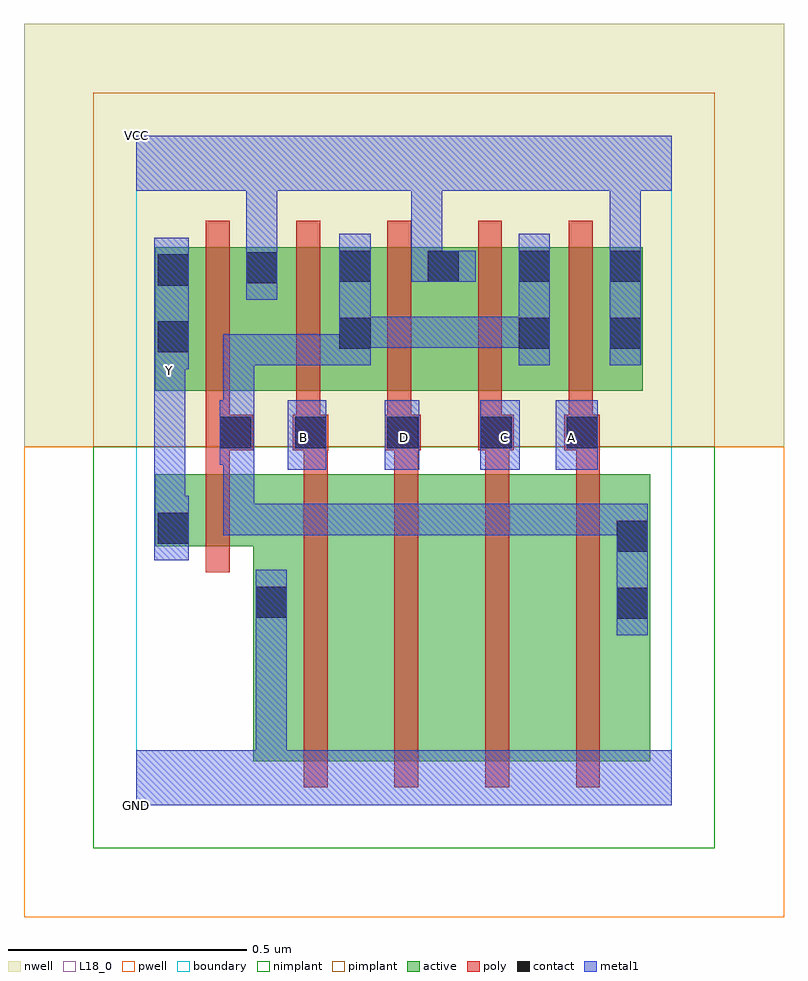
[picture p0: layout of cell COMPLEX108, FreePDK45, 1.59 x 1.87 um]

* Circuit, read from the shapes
.subckt COMPLEX108 A B C D GND VCC Y
M1 GND n1 Y VSUBS nfet w=0.15u l=0.05u
M2 n2 B GND VSUBS nfet w=0.6u l=0.05u
M3 n3 D n2 VSUBS nfet w=0.6u l=0.05u
M4 n4 C n3 VSUBS nfet w=0.6u l=0.05u
M5 n1 A n4 VSUBS nfet w=0.6u l=0.05u
M6 VCC n1 Y n5 pfet w=0.3u l=0.05u
M7 n1 B VCC n5 pfet w=0.3u l=0.05u
M8 VCC D n1 n5 pfet w=0.3u l=0.05u
M9 n1 C VCC n5 pfet w=0.3u l=0.05u
M10 VCC A n1 n5 pfet w=0.3u l=0.05u
.ends

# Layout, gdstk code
import gdstk
lib = gdstk.Library(unit=1e-6, precision=1e-09)
def R(c, l, rs):  # rectangles x0, y0, x1, y1
    for r in rs: c.add(gdstk.rectangle(r[:2], r[2:], *l))
def A(c, l, x, y, w, h, nx, ny, dx, dy):  # array of equal rectangles
    R(c, l, [(x+i*dx, y+j*dy, x+i*dx+w, y+j*dy+h) for i in range(nx) for j in range(ny)])
active = (1, 0)
pwell = (2, 0)
nwell = (3, 0)
nimplant = (4, 0)
pimplant = (5, 0)
poly = (9, 0)
contact = (10, 0)
metal1 = (11, 0)
L18_0 = (18, 0)
boundary = (235, 0)

complex108 = lib.new_cell('COMPLEX108')
R(complex108, active, [(0.245,0.092,0.47,0.692), (0.245,0.092,0.32,0.542), (0.47,0.092,0.66,0.692), (0.66,0.092,0.85,0.692), (0.85,0.092,1.075,0.692), (1,0.095,1.075,0.692), (0.04,0.542,0.32,0.692), (0.04,0.542,0.115,0.692), (0.04,0.867,0.115,1.167), (0.04,0.867,0.3,1.167), (0.225,0.867,0.495,1.167), (0.42,0.867,0.68,1.167), (0.605,0.867,0.87,1.167), (0.795,0.867,0.87,1.167), (0.795,0.867,1.06,1.167), (0.985,0.867,1.06,1.167), (0.42,0.875,0.495,1.167), (0.225,1.002,0.3,1.167), (0.605,1.002,0.68,1.167)])
R(complex108, pwell, [(-0.235,-0.235,1.355,0.75)])
R(complex108, nwell, [(-0.235,0.75,1.355,1.635)])
R(complex108, nimplant, [(-0.09,-0.09,1.21,0.75)])
R(complex108, pimplant, [(-0.09,0.75,1.21,1.49)])
A(complex108, poly, 0.35, 0.037, 0.05, 0.71, 4, 1, 0.19, 0)
A(complex108, poly, 0.35, 0.697, 0.05, 0.095, 4, 1, 0.19, 0)
A(complex108, poly, 0.145, 0.767, 0.05, 0.095, 5, 1, 0.19, 0)
A(complex108, poly, 0.145, 0.812, 0.05, 0.41, 5, 1, 0.19, 0)
R(complex108, poly, [(0.145,0.487,0.195,0.747), (0.145,0.697,0.195,0.792), (0.145,0.742,0.245,0.817), (0.327,0.742,0.402,0.817), (0.52,0.742,0.595,0.817), (0.715,0.742,0.79,0.817), (0.895,0.742,0.97,0.817)])
A(complex108, contact, 0.61, 1.095, 0.065, 0.065, 3, 1, 0.19, 0)
R(complex108, contact, [(1.005,0.39,1.07,0.455), (0.25,0.392,0.315,0.457), (1.005,0.53,1.07,0.595), (0.045,0.547,0.11,0.612), (0.175,0.747,0.24,0.812), (0.332,0.747,0.397,0.812), (0.525,0.747,0.59,0.812), (0.72,0.747,0.785,0.812), (0.9,0.747,0.965,0.812), (0.045,0.947,0.11,1.012), (0.425,0.955,0.49,1.02), (0.8,0.955,0.865,1.02), (0.99,0.955,1.055,1.02), (0.045,1.087,0.11,1.152), (0.23,1.092,0.295,1.157), (0.425,1.095,0.49,1.16)])
R(complex108, metal1, [(0,0,1.12,0.115), (0.25,0.05,0.315,0.422), (1.005,0.355,1.07,0.63), (0.25,0.357,0.315,0.492), (0.037,0.512,0.11,0.647), (0.182,0.565,0.247,0.63), (0.182,0.565,0.385,0.63), (0.182,0.565,0.247,0.847), (0.32,0.565,0.385,0.63), (0.32,0.565,0.385,0.63), (0.32,0.565,0.385,0.63), (0.32,0.565,0.627,0.63), (0.562,0.565,0.627,0.63), (0.562,0.565,0.627,0.63), (0.562,0.565,0.627,0.63), (0.562,0.565,0.785,0.63), (0.72,0.565,0.785,0.63), (0.72,0.565,0.785,0.63), (0.72,0.565,0.785,0.63), (0.72,0.565,1.07,0.63), (1.005,0.565,1.07,0.63), (1.005,0.565,1.07,0.63), (0.037,0.582,0.102,0.907), (0.317,0.702,0.397,0.847), (0.52,0.702,0.592,0.847), (0.72,0.702,0.802,0.847), (0.877,0.702,0.965,0.847), (0.175,0.712,0.24,0.847), (0.175,0.782,0.247,0.847), (0.182,0.782,0.247,0.847), (0.182,0.782,0.247,0.985), (0.037,0.842,0.102,0.977), (0.037,0.912,0.102,0.977), (0.037,0.912,0.11,1.187), (0.182,0.92,0.247,0.985), (0.182,0.92,0.377,0.985), (0.312,0.92,0.377,0.985), (0.312,0.92,0.49,0.985), (0.425,0.92,0.49,1.195), (0.8,0.92,0.865,1.195), (0.99,0.92,1.055,1.195), (0.425,0.957,0.647,1.022), (0.582,0.957,0.647,1.022), (0.582,0.957,0.647,1.022), (0.582,0.957,0.647,1.022), (0.582,0.957,0.805,1.022), (0.74,0.957,0.805,1.022), (0.74,0.957,0.865,1.022), (0.23,1.057,0.295,1.192), (0.575,1.095,0.64,1.16), (0.575,1.095,0.64,1.16), (0.575,1.095,0.64,1.35), (0.575,1.095,0.71,1.16), (0.23,1.127,0.295,1.192), (0.23,1.127,0.295,1.192), (0.23,1.127,0.295,1.35), (0.99,1.13,1.055,1.35), (0,1.285,1.12,1.4), (0.99,1.285,1.055,1.35), (0.99,1.285,1.055,1.35)])
A(complex108, L18_0, 0.317, 0.737, 0.065, 0.065, 3, 1, 0.21, 0)
R(complex108, L18_0, [(0,0,1.12,0.115), (0.25,0.05,0.315,0.422), (0.25,0.357,0.315,0.492), (0.037,0.512,0.11,0.647), (0.037,0.582,0.102,0.907), (0.317,0.702,0.397,0.847), (0.52,0.702,0.592,0.847), (0.72,0.702,0.802,0.847), (0.877,0.702,0.965,0.847), (0.877,0.737,0.942,0.802), (0.037,0.842,0.102,0.977), (0.037,0.877,0.102,0.942), (0.037,0.912,0.11,1.187), (0.037,0.912,0.102,0.977), (0.99,0.92,1.055,1.195), (0.23,1.057,0.295,1.192), (0.575,1.095,0.64,1.16), (0.575,1.095,0.64,1.16), (0.575,1.095,0.71,1.16), (0.575,1.095,0.64,1.35), (0.23,1.127,0.295,1.192), (0.23,1.127,0.295,1.192), (0.23,1.127,0.295,1.35), (0.99,1.13,1.055,1.35), (0,1.285,1.12,1.4), (0.99,1.285,1.055,1.35), (0.99,1.285,1.055,1.35)])
R(complex108, boundary, [(0,0,1.12,1.4)])
complex108.add(gdstk.Label('A', (0.91,0.77), layer=11, texttype=0))
complex108.add(gdstk.Label('B', (0.35,0.77), layer=11, texttype=0))
complex108.add(gdstk.Label('C', (0.77,0.77), layer=11, texttype=0))
complex108.add(gdstk.Label('D', (0.56,0.77), layer=11, texttype=0))
complex108.add(gdstk.Label('Y', (0.07,0.91), layer=11, texttype=0))
complex108.add(gdstk.Label('VCC', (0,1.4), layer=11, texttype=0))
complex108.add(gdstk.Label('GND', (0,0), layer=11, texttype=0))

lib.write_gds('COMPLEX108.gds')
